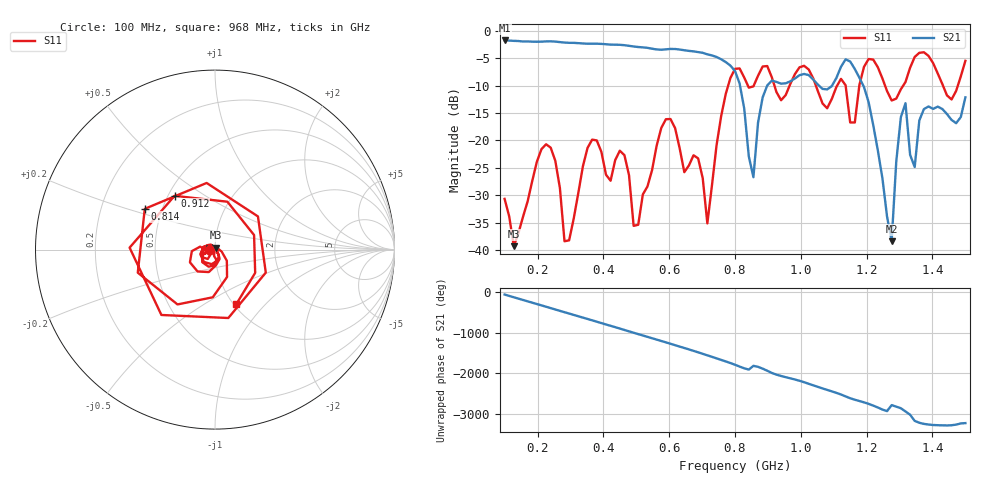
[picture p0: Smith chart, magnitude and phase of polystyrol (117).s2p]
! NanoVNA-App
! Date: 2025-09-26 09:42:47
! Start: 100MHz Stop: 1,5GHz Points: 101
! S-Parameter data: F S11 S21 S12 S22
# Hz S RI R 50
!  Frequency  S11_Real  S11_Imag  S21_Real  S21_Imag  S12_Real  S12_Imag  S22_Real  S22_Imag
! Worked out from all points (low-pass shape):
!   101 points, 100 MHz to 1.5 GHz, reference 50 ohm
!   highest |S21| = -1.79 dB at 100 MHz (marker M1); lowest = -38.4 dB at 1.276 GHz (marker M2)
!   |S21| within 3 dB of the highest: start of sweep to 743.4 MHz
!   lowest |S11| = -39.3 dB at 128 MHz (marker M3), VSWR 1.02, Z = 50.3 + j1.05 ohm
!   |S11| at or under -10 dB: start of sweep to 779.3 MHz; 1.046 GHz to 1.111 GHz (64.95 MHz wide, 6.02 % of centre); 1.256 GHz to 1.311 GHz (55.43 MHz wide, 4.32 % of centre)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
!   S12 and S22 are empty: the file has one direction only
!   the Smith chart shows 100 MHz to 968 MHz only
!   S11 on the Smith chart (normalised r, x): 100 MHz: 0.94, -0.01; 814 MHz: 0.40, +0.23; 912 MHz: 0.54, +0.38; 968 MHz: 1.03, -0.70
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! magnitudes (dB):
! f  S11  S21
! 100 MHz  -30.7  -1.8
! 128 MHz  -39.3  -1.9
! 212 MHz  -21.6  -2.0
! 282 MHz  -38.4  -2.2
! 338 MHz  -24.7  -2.3
! 464 MHz  -22.7  -2.7
! 506 MHz  -35.4  -3.0
! 576 MHz  -17.7  -3.5
! 688 MHz  -23.3  -3.9
! 716 MHz  -35.1  -4.3
! 800 MHz  -7.0  -7.4
! 814 MHz  -6.9  -9.6
! 856 MHz  -10.2  -26.7
! 912 MHz  -8.5  -9.1
! 968 MHz  -9.7  -9.2
! 1.038 GHz  -8.7  -8.9
! 1.164 GHz  -16.7  -7.0
! 1.192 GHz  -6.6  -10.3
! 1.276 GHz  -12.7  -38.4
! 1.318 GHz  -9.4  -13.2
! 1.346 GHz  -4.8  -24.9
! 1.5 GHz  -5.5  -12.2
